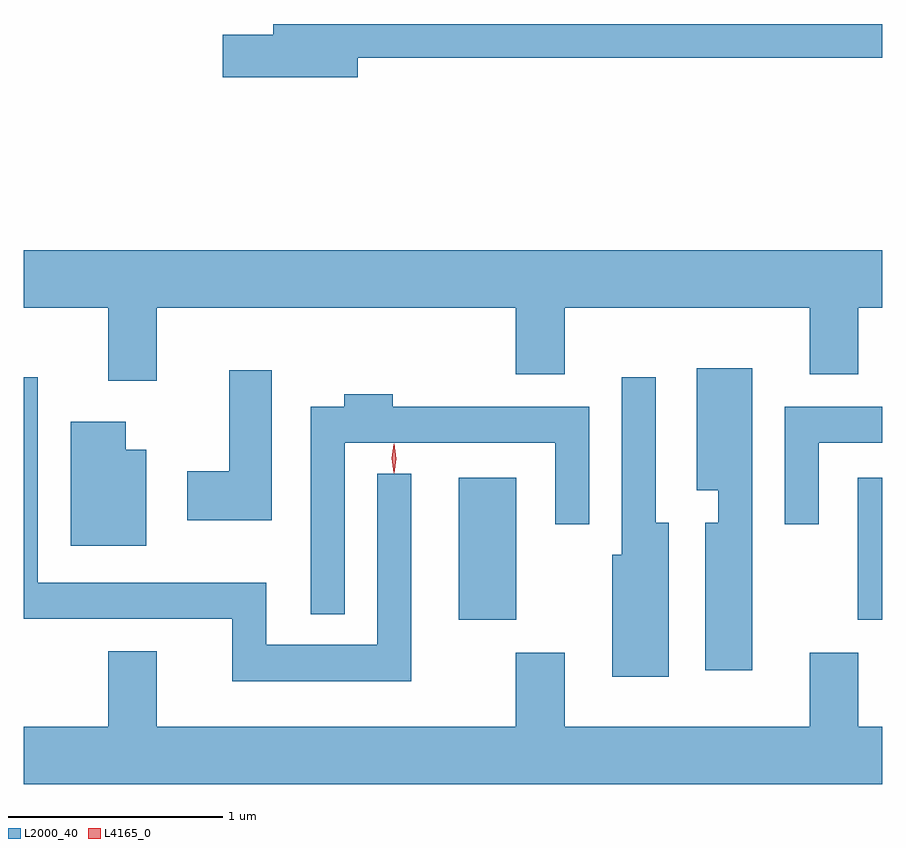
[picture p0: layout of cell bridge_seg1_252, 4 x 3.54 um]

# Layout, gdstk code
import gdstk
lib = gdstk.Library(unit=1e-6, precision=1e-09)
def R(c, l, rs):  # rectangles x0, y0, x1, y1
    for r in rs: c.add(gdstk.rectangle(r[:2], r[2:], *l))
def P(c, l, *ps):  # polygons
    for p in ps: c.add(gdstk.Polygon(p, *l))
L2000_40 = (2000, 40)
L4165_0 = (4165, 0)

bridge_seg1_252 = lib.new_cell('bridge_seg1_252')
R(bridge_seg1_252, L2000_40, [(957.106,898.121,957.374,898.784), (958.966,898.121,959.079,898.784)])
P(bridge_seg1_252, L2000_40, [(956.634,900.741),(959.079,900.741),(959.079,900.899),(956.241,900.899),(956.241,900.849),(956.006,900.849),(956.006,900.651),(956.634,900.651)],
  [(955.699,899.576),(957.371,899.576),(957.371,899.266),(957.599,899.266),(957.599,899.576),(958.741,899.576),(958.741,899.266),(958.969,899.266),(958.969,899.576),(959.079,899.576),(959.079,899.844),(955.079,899.844),(955.079,899.576),(955.471,899.576),(955.471,899.236),(955.699,899.236)],
  [(958.474,899.294),(958.216,899.294),(958.216,898.726),(958.316,898.726),(958.316,898.574),(958.256,898.574),(958.256,897.886),(958.474,897.886)],
  [(956.234,899.284),(956.036,899.284),(956.036,898.814),(955.841,898.814),(955.841,898.586),(956.234,898.586)],
  [(956.884,898.803),(956.726,898.803),(956.726,898.004),(956.209,898.004),(956.209,898.294),(955.144,898.294),(955.144,899.253),(955.079,899.253),(955.079,898.126),(956.051,898.126),(956.051,897.836),(956.884,897.836)],
  [(958.084,898.574),(958.024,898.574),(958.024,899.253),(957.866,899.253),(957.866,898.424),(957.821,898.424),(957.821,897.856),(958.084,897.856)],
  [(956.574,898.946),(957.556,898.946),(957.556,898.568),(957.714,898.568),(957.714,899.114),(956.799,899.114),(956.799,899.174),(956.571,899.174),(956.571,899.114),(956.416,899.114),(956.416,898.148),(956.574,898.148)],
  [(958.784,898.946),(959.079,898.946),(959.079,899.114),(958.626,899.114),(958.626,898.568),(958.784,898.568)],
  [(955.649,898.914),(955.554,898.914),(955.554,899.044),(955.296,899.044),(955.296,898.466),(955.649,898.466)],
  [(959.079,897.624),(958.969,897.624),(958.969,897.969),(958.741,897.969),(958.741,897.624),(957.599,897.624),(957.599,897.969),(957.371,897.969),(957.371,897.624),(955.699,897.624),(955.699,897.974),(955.471,897.974),(955.471,897.624),(955.079,897.624),(955.079,897.356),(959.079,897.356)])
P(bridge_seg1_252, L4165_0, [(956.805,898.804),(956.796,898.873),(956.805,898.943),(956.806,898.943),(956.806,898.943),(956.815,898.873),(956.806,898.804),(956.806,898.804)],
  [(956.802,898.807),(956.793,898.874),(956.802,898.94),(956.802,898.94),(956.803,898.94),(956.813,898.874),(956.803,898.807),(956.803,898.807)])

lib.write_gds('bridge_seg1_252.gds')
